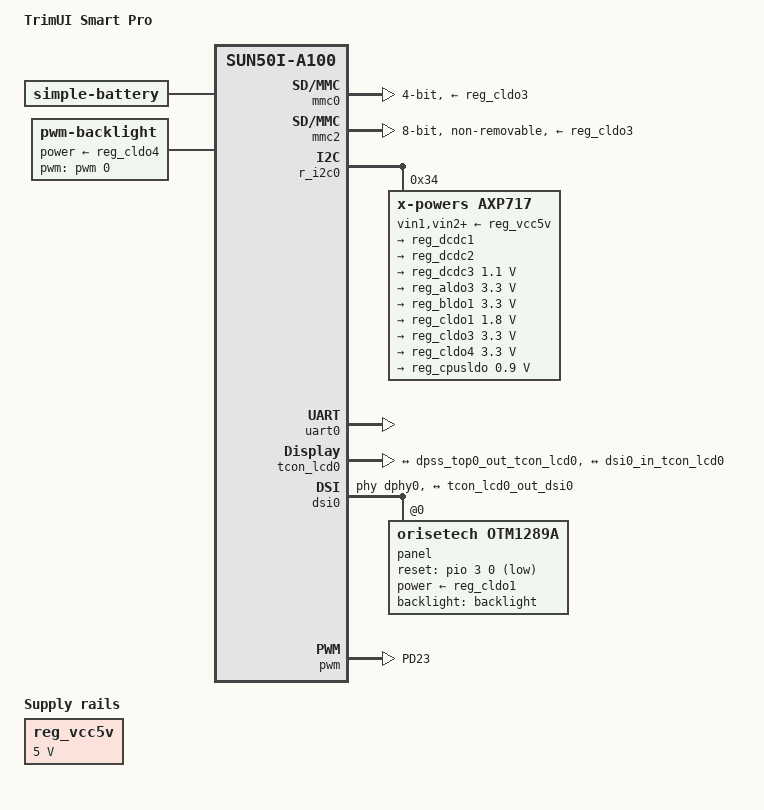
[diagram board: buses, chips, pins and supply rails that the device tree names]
// SPDX-License-Identifier: (GPL-2.0+ OR MIT)
/*
 * Copyright (c) 2026 (out-of-tree hobbyist port, not yet upstream)
 *
 * Board: TrimUI Smart Pro (Allwinner A133 Plus / sun50iw10p1)
 *
 * Sourced from:
 *  - vendor DTB extracted from Knulli image (dtb_86065152.dts, offset
 *    86065152 in knulli-a133-trimui-smart-pro-scarab-20260511.img)
 *  - sun50i-a133-liontron-h-a133l.dts (mainline reference board, same SoC)
 *  - sun50i-h700-anbernic-rg35xx-2024.dts (mainline handheld reference for
 *    AXP717 regulator/battery wiring style)
 *  - LIVE data pulled directly off the running unit over UART (root shell +
 *    /sys/firmware/fdt, the kernel's own resolved device tree — not a guess):
 *    real regulator voltages (confirmed via U-Boot's PMIC init console log),
 *    real DRAM timing table (see trimui-smartpro_defconfig), real panel
 *    timings (see the lcd0 comment block below).
 *
 * TODO markers below are places nothing above could resolve: buttons/
 * joystick are NOT GPIO at all (confirmed: read over a UART-attached
 * co-microcontroller, see BUTTON_PROBING_PLAN.md — needs a from-scratch
 * serdev driver, not a DT gpio-keys node), and the panel's DSI init
 * command sequence (register writes for the otm1289a controller) is
 * not yet captured.
 */

/dts-v1/;

#include "sun50i-a100.dtsi"
#include "sun50i-a100-cpu-opp.dtsi"

#include <dt-bindings/clock/sun8i-tcon-top.h>
#include <dt-bindings/gpio/gpio.h>
#include <dt-bindings/input/linux-event-codes.h>
#include <dt-bindings/leds/common.h>

/ {
	model = "TrimUI Smart Pro";
	chassis-type = "handset";
	/* "trimui" is not a registered vendor prefix in dt-bindings yet;
	 * fine for an out-of-tree hobbyist build, would need registering
	 * (vendor-prefixes.yaml) before any upstream submission. */
	compatible = "trimui,smart-pro", "allwinner,sun50i-a100";

	aliases {
		serial0 = &uart0;
	};

	chosen {
		/* confirmed from the vendor boot.img kernel cmdline */
		stdout-path = "serial0:115200n8";
	};

	battery: battery {
		compatible = "simple-battery";
		/* vendor DTB: pmu_battery_rdc = 0x93, pmu_battery_cap = 0x1388 (5000mAh) */
		voltage-max-design-microvolt = <4200000>;
	};

	reg_vcc5v: regulator-vcc5v {
		compatible = "regulator-fixed";
		regulator-name = "vcc-5v";
		regulator-min-microvolt = <5000000>;
		regulator-max-microvolt = <5000000>;
		regulator-always-on;
	};

	de: display-engine {
		/*
		 * The fallback compatible string matters: sun4i_drv.c's
		 * of_match_table has no A133 entry, and matches here are what
		 * probes the aggregate "sun4i-drm" platform driver that calls
		 * component_bind_all() to wire the already-individually-probed
		 * mixer/tcon/dsi devices together into one DRM device. Without
		 * a match, this node binds no driver at all and the pipeline
		 * sits in permanent -EPROBE_DEFER. sun4i_drv.c's probe function
		 * isn't SoC-specific (it just walks the DT ports graph), so
		 * reusing an existing entry here is safe -- same pattern used
		 * on tcon_lcd0 below.
		 */
		compatible = "allwinner,sun50i-a133-display-engine",
			     "allwinner,sun50i-a64-display-engine";
		allwinner,pipelines = <&mixer0>;
		status = "okay";
	};

	/*
	 * Real values from the vendor live DTB's power_sply block:
	 * lcd_pwm_used=1, lcd_pwm_ch=0 (PWM channel 0 — wired above),
	 * lcd_pwm_freq=0xc350=50000Hz (period_ns = 1e9/50000 = 20000),
	 * lcd_pwm_pol=0 (normal polarity), lcd_pwm_max_limit=0xc8=200.
	 * NOT included: a real backlight-enable GPIO. The vendor DTB has
	 * a separate lcd_bl_en packed property (bank=7/pin=18, decoding to
	 * PH18 by cross-checking the pinctrl driver's own bank-numbering
	 * against an already-confirmed-real pin elsewhere in this file) —
	 * tried driving it directly via a raw register poke on live
	 * hardware (no kernel involved, just to test the hypothesis) and
	 * it had no visible effect, so this pin guess is unconfirmed/likely
	 * wrong (the vendor property has 8 packed fields where a plain
	 * 6-cell gpio-spec would only have 7 — there's a piece of that
	 * encoding not accounted for). Left out entirely rather than wire
	 * up a pin that's an unverified guess.
	 */
	backlight: backlight {
		compatible = "pwm-backlight";
		pwms = <&pwm 0 20000 0>;
		default-brightness-level = <200>;
		power-supply = <&reg_cldo4>;
	};

	/* TODO: face buttons (A/B/X/Y, D-pad, L1/L2/R1/R2, start/select,
	 * joystick clicks). The vendor DTB has NO gpio-keys node and no
	 * "trimui_keypad"-style driver string was found in the firmware —
	 * only a 3-key ADC "allwinner,keyboard_1350mv" node exists (that's
	 * volume/fastboot-combo, not the face buttons). Real GPIO/ADC
	 * assignments need to come from live probing on the actual unit
	 * (pinctrl debugfs, evtest against the stock kernel, or a UART
	 * dmesg capture during boot) — not guessed from another device.
	 */
};

&cpu0 {
	/* TODO: verify against A133 PLUS-rated OPP ceiling, not just A100's */
	cpu-supply = <&reg_dcdc1>;
};

&mmc0 {
	/* SD card slot. cd-gpios still unconfirmed — no hotplug detection, but
	 * that's fine for a card already inserted at boot (proven live: this is
	 * literally how SPL/BROM read this same card to boot in the first
	 * place). Pin/clock wiring already provided by sun50i-a100.dtsi.
	 * vmmc-supply guessed as the same general IO rail as mmc2 — unconfirmed,
	 * first thing to revisit if this doesn't come up cleanly. */
	bus-width = <4>;
	vmmc-supply = <&reg_cldo3>;
	status = "okay";
};

&mmc2 {
	/* eMMC — pin group/clocks/etc. already wired by sun50i-a100.dtsi, this
	 * board file only needs the board-specific bits. bus mode confirmed
	 * from the live boot log: negotiated DDR52, NOT HS200/HS400 — the
	 * vendor kernel actively strips those capability flags at runtime
	 * ("delete mmc-hs200-1_8v from dtb" / "delete mmc-hs400-1_8v from dtb"
	 * in dmesg), so we don't claim them here either. vmmc-supply is a
	 * reasonable inference (cldo3/vcc-io, the general 3.3V IO rail) but
	 * NOT directly confirmed — no capture explicitly tied cldo3 to mmc2.
	 */
	bus-width = <8>;
	non-removable;
	cap-mmc-hw-reset;
	mmc-ddr-1_8v;
	vmmc-supply = <&reg_cldo3>; /* inferred, not directly confirmed */
	status = "okay";
};

&r_i2c0 {
	status = "okay";

	axp717: pmic@34 {
		compatible = "x-powers,axp717";
		reg = <0x34>;
		interrupt-controller;
		#interrupt-cells = <1>;
		interrupt-parent = <&r_intc>;
		interrupts = <0 IRQ_TYPE_LEVEL_LOW>;

		vin1-supply = <&reg_vcc5v>;
		vin2-supply = <&reg_vcc5v>;
		vin3-supply = <&reg_vcc5v>;
		vin4-supply = <&reg_vcc5v>;

		axp_adc: adc {
			compatible = "x-powers,axp717-adc";
			#io-channel-cells = <1>;
		};

		battery_power: battery-power {
			compatible = "x-powers,axp717-battery-power-supply";
			monitored-battery = <&battery>;
			x-powers,no-thermistor;
		};

		usb_power: usb-power {
			compatible = "x-powers,axp717-usb-power-supply";
		};

		/*
		 * Regulator names carried over from the vendor DTB's "axp2202-*"
		 * node names (AXP2202 == AXP717, confirmed: Allwinner's BSP driver
		 * for "axp2202" has been shown driving a chip physically marked
		 * AXP717). Voltages below are REAL, read directly from U-Boot's own
		 * PMIC-init console log on the live unit (not decoded/guessed) —
		 * each line printed "<rail>_vol = <mV>, onoff=<0|1>" at boot. dcdc2
		 * (GPU/sys) wasn't printed at that boot stage (probably brought up
		 * later by the kernel) — left undocumented rather than guessed.
		 * dcdc1 (vdd-cpu) was 940mV at that instant but is DVFS-scaled by
		 * cpufreq, so it's intentionally NOT hardcoded to a fixed value here.
		 */
		regulators {
			reg_dcdc1: dcdc1 {
				/*
				 * regulator-always-on, not regulator-boot-on:
				 * drivers/regulator/core.c's regulator_late_cleanup()
				 * (the late-boot "disable unused regulators" sweep)
				 * checks constraints->always_on, not ->boot_on --
				 * boot-on only means "was already on at boot," it
				 * does nothing to stop this cleanup pass from
				 * turning it back off. This board has no cpufreq/OPP
				 * consumer wired up yet, so dcdc1 would otherwise
				 * have zero regulator-API reference count despite
				 * being the CPU's own supply -- disabling it hard
				 * hangs the board.
				 */
				regulator-always-on;
				regulator-name = "vdd-cpu";
				/* boot-time value was 940mV; real range needs the OPP table, not hardcoded here */
			};
			reg_dcdc2: dcdc2 {
				/*
				 * Same reasoning as dcdc1 above: no GPU driver
				 * claims this rail yet, and nothing rules out
				 * shared PLL/bias circuitry with the display
				 * path, so it's kept on rather than left to the
				 * late-boot unused-regulator cleanup.
				 */
				regulator-always-on;
				regulator-name = "vdd-gpu-sys";
			};
			reg_dcdc3: dcdc3 {
				/* confirmed real: matches boot0's "DRAM_VCC set to 1100 mv" exactly */
				regulator-always-on;
				regulator-min-microvolt = <1100000>;
				regulator-max-microvolt = <1100000>;
				regulator-name = "vdd-dram";
			};
			/*
			 * aldo1/aldo2/aldo4/bldo2/bldo3/bldo4 all got
			 * regulator-always-on added after real, reproducible
			 * hard hangs: fixing vdd-cpu/vdd-gpu-sys (the first two
			 * rails caught by the kernel's late-boot "disable
			 * unused regulators" sweep) didn't stop the hang, it
			 * just moved it — the very next boot hung identically
			 * but with "aldo4: disabling" this time. Whack-a-mole:
			 * every rail the vendor bootloader left on (onoff=1 in
			 * the real U-Boot PMIC log) that we don't have a
			 * confirmed real consumer/purpose for is exactly this
			 * same landmine, since nothing in our still-incomplete
			 * DT claims them through the regulator API. Rather than
			 * keep discovering these one hang at a time, all of
			 * them get always-on now — matches the vendor's own
			 * actual default behavior anyway (leave them on).
			 * bldo1 is the one confirmed exception: real U-Boot log
			 * shows onoff=0 at boot (WiFi/BT driver switches it on
			 * dynamically later), so it's deliberately left off here.
			 */
			reg_aldo1: aldo1 {
				/* real: 1800mV, onoff=1 at boot */
				regulator-always-on;
			};
			reg_aldo2: aldo2 {
				/* real: 3300mV, onoff=1 */
				regulator-always-on;
			};
			reg_aldo3: aldo3 {
				/* confirmed: WiFi/BT IO rail (wlan_io_regulator), real: 3300mV */
				regulator-always-on;
				regulator-min-microvolt = <3300000>;
				regulator-max-microvolt = <3300000>;
				regulator-name = "vcc-wifi-io";
			};
			reg_aldo4: aldo4 {
				/* real: 1800mV, onoff=1 */
				regulator-always-on;
			};
			reg_bldo1: bldo1 {
				/* confirmed: WiFi/BT power rail (wlan_power1), real: 3300mV.
				 * NOT always-on: U-Boot log shows onoff=0 at boot — the
				 * wifi/bt driver switches it on dynamically at runtime. */
				regulator-min-microvolt = <3300000>;
				regulator-max-microvolt = <3300000>;
				regulator-name = "vcc-wifi";
			};
			reg_bldo2: bldo2 {
				/* real: 1800mV, onoff=1 */
				regulator-always-on;
			};
			reg_bldo3: bldo3 {
				/* real: 3300mV, onoff=1 */
				regulator-always-on;
			};
			reg_bldo4: bldo4 {
				/* real: 1800mV at boot, onoff=1 */
				regulator-always-on;
			};
			reg_cldo1: cldo1 {
				/* confirmed: LCD panel power0 (lcd_power0="cldo1"), real: 1800mV */
				regulator-always-on;
				regulator-min-microvolt = <1800000>;
				regulator-max-microvolt = <1800000>;
				regulator-name = "vcc-lcd-1";
			};
			reg_cldo2: cldo2 { };
			reg_cldo3: cldo3 {
				/* real: 3300mV */
				regulator-always-on;
				regulator-min-microvolt = <3300000>;
				regulator-max-microvolt = <3300000>;
				regulator-name = "vcc-io";
			};
			reg_cldo4: cldo4 {
				/* confirmed: LCD panel power1 (lcd_power1="cldo4"), real: 3300mV */
				regulator-always-on;
				regulator-min-microvolt = <3300000>;
				regulator-max-microvolt = <3300000>;
				regulator-name = "vcc-lcd-2";
			};
			reg_cpusldo: cpusldo {
				/* real: 900mV, onoff=1 */
				regulator-always-on;
				regulator-boot-on;
				regulator-min-microvolt = <900000>;
				regulator-max-microvolt = <900000>;
			};
		};
	};
};

&uart0 {
	pinctrl-names = "default";
	pinctrl-0 = <&uart0_pb_pins>; /* only pin group this SoC's dtsi defines; matches vendor cmdline's ttyS0 */
	status = "okay";
};

&{/soc} {
	/*
	 * A133 (sun50iw10) has no public DE/mixer register documentation
	 * (A133 User Manual rev 1.1, chapter 4.1 "DE" is 2 pages of feature
	 * bullets + a block diagram, no register list — unlike every other
	 * chapter in that manual). Addresses/topology below are cross-
	 * checked two ways instead: the manual's own top-level physical
	 * memory map (DE0/DSI0/DPSS_TOP0/TCON_LCD0 base addresses + GIC IRQ
	 * numbers, chapter 3) and Allwinner's own GPL disp2 driver source
	 * for this exact SoC (lowlevel_v2x/sun50iw10 tree — public on
	 * GitHub from several vendor BSP forks, e.g. chainsx/kernel-sun50iw10,
	 * engSinteck/A133_Image): de_feat.c gives the real channel/layer
	 * topology (DISP0 = 2 VI + 2 UI channels, DISP1 = 1 VI + 2 UI, all
	 * scaler-capable) that drives the sun8i_mixer.c cfg structs, and
	 * de_rtmx_init()'s reg_base + 0x100000 / + 0x200000 offsets for
	 * mixer0/mixer1 match the addresses used below (and match the
	 * existing convention already used for every other DE2.0 SoC in
	 * this driver — A64, H3, R40).
	 *
	 * DPSS_TOP0 (0x06510000) is a real hardware crossbar between the
	 * mixers and TCON_LCD0 -- CCU exposes its own bus clock/reset gate
	 * (CLK_BUS_DPSS_TOP0/RST_BUS_DPSS_TOP0), and the vendor implementation
	 * explicitly routes through it. Leaving it out of the ports graph
	 * entirely is not survivable: mixer0/tcon_lcd0/dsi0 all probe and
	 * bind fine without it, but every DRM atomic commit then times out
	 * waiting for vblank -- the pixel path never physically reaches the
	 * panel, because nothing keeps DPSS_TOP0's own bus clock enabled
	 * once Linux's "disable unused clocks" cleanup runs. Modeled here by
	 * reusing mainline's existing sun8i_tcon_top.c driver with an added
	 * A133 compatible + quirks entry: the vendor's own register layout
	 * for this block is bit-for-bit identical to what that driver
	 * already assumes for R40/D1/H6 -- genuinely the same IP block, just
	 * undocumented for this particular SoC.
	 */
	dpss_top0: dpss-top@6510000 {
		compatible = "allwinner,sun50i-a133-tcon-top";
		reg = <0x06510000 0x1000>;
		/*
		 * "tcon-tv0" is a required clock-name in sun8i_tcon_top_bind()
		 * regardless of quirks (it unconditionally registers a TV0
		 * gate clock) even though this board has no TCON_TV/HDMI
		 * output at all. Pointing it at CLK_TCON_LCD is a harmless
		 * filler — that gate output is never consumed by anything in
		 * this DT, it just needs to exist so probe doesn't fail
		 * resolving the clock-name. "dsi" is real and load-bearing
		 * though (has_dsi=true pulls it in): CLK_MIPI_DSI from CCU is
		 * the actual upstream parent feeding DSI's gated clock inside
		 * this block. Missed this the first time around — dpss_top0's
		 * own probe failed outright without it (of_property_match_string
		 * couldn't find "dsi" in clock-names), which cascaded into
		 * dsi0's own "mod" clock lookup failing too, since it points
		 * at dpss_top0's now-never-registered clock provider.
		 */
		clocks = <&ccu CLK_BUS_DPSS_TOP0>,
			 <&ccu CLK_TCON_LCD>,
			 <&ccu CLK_MIPI_DSI>;
		clock-names = "bus", "tcon-tv0", "dsi";
		clock-output-names = "tcon-top-tv0", "tcon-top-dsi";
		resets = <&ccu RST_BUS_DPSS_TOP0>;
		#clock-cells = <1>;

		ports {
			#address-cells = <1>;
			#size-cells = <0>;

			dpss_top0_mixer0_in: port@0 {
				reg = <0>;

				dpss_top0_in_mixer0: endpoint {
					remote-endpoint = <&mixer0_out_dpss_top0>;
				};
			};

			dpss_top0_mixer0_out: port@1 {
				reg = <1>;

				dpss_top0_out_tcon_lcd0: endpoint {
					remote-endpoint = <&tcon_lcd0_in_dpss_top0>;
				};
			};
		};
	};

	mixer0: mixer@6100000 {
		compatible = "allwinner,sun50i-a133-de2-mixer-0";
		reg = <0x06100000 0x100000>;
		clocks = <&ccu CLK_BUS_DE>, <&ccu CLK_DE>;
		clock-names = "bus", "mod";
		resets = <&ccu RST_BUS_DE>;

		ports {
			#address-cells = <1>;
			#size-cells = <0>;

			mixer0_out: port@1 {
				reg = <1>;

				mixer0_out_dpss_top0: endpoint {
					remote-endpoint = <&dpss_top0_in_mixer0>;
				};
			};
		};
	};

	tcon_lcd0: lcd-controller@6511000 {
		/*
		 * No A100/A133-specific compatible exists upstream (the
		 * binding's compatible enum only lists SoCs someone has
		 * already wired up). The generic a83t-tcon-lcd fallback
		 * matches the driver purely on this string, so it still
		 * binds correctly even without an A133-specific entry.
		 */
		compatible = "allwinner,sun8i-a83t-tcon-lcd";
		reg = <0x06511000 0x1000>;
		/*
		 * Was GIC_SPI 101 (copied from a mismatched reference DTS) --
		 * the interrupt handler was silently never firing. Confirmed
		 * correct via the live vendor DT + /proc/interrupts: vendor's
		 * combined disp@06000000 node's third interrupt cell is raw
		 * SPI 0x44 = 68, and that is the ONLY display-related
		 * interrupt actively counting (~60Hz) on real hardware --
		 * cross-checked against dma0's SPI 0x2d=45, which matches
		 * exactly between the vendor DT and its own /proc/interrupts
		 * with no offset, confirming the raw-cell-value convention.
		 */
		interrupts = <GIC_SPI 68 IRQ_TYPE_LEVEL_HIGH>;
		clocks = <&ccu CLK_BUS_TCON_LCD>, <&ccu CLK_TCON_LCD>;
		clock-names = "ahb", "tcon-ch0";
		clock-output-names = "tcon-pixel-clock";
		resets = <&ccu RST_BUS_TCON_LCD>;
		reset-names = "lcd";
		#clock-cells = <0>;

		ports {
			#address-cells = <1>;
			#size-cells = <0>;

			tcon_lcd0_in: port@0 {
				reg = <0>;

				tcon_lcd0_in_dpss_top0: endpoint {
					remote-endpoint = <&dpss_top0_out_tcon_lcd0>;
				};
			};

			tcon_lcd0_out: port@1 {
				reg = <1>;
				#address-cells = <1>;
				#size-cells = <0>;

				/*
				 * reg = <1> here (not 0) is load-bearing, not
				 * cosmetic: sun4i_drv.c's component-matching
				 * walk (sun4i_drv_traverse_endpoints()) treats
				 * a channel-0 TCON's port@1 endpoint 0 as "our
				 * directly-connected panel" and deliberately
				 * skips adding it to the component match list.
				 * Confirmed live on real hardware: with this
				 * endpoint unaddressed (defaulting to reg=0),
				 * the DSI encoder got silently treated as a
				 * bare panel and never added to the component
				 * list, so component_bind_all() never bound
				 * it, dsi->drm never got set, and the panel's
				 * mipi_dsi_attach() spun in EPROBE_DEFER
				 * forever — screen stayed black even though
				 * mixer0 probed fine standalone. Matches the
				 * real D1 reference DTS's own convention:
				 * sunxi-d1s-t113.dtsi's tcon_lcd0_out_dsi is
				 * also "endpoint@1 { reg = <1>; ... }", same
				 * as here, not endpoint 0 — this was a real
				 * detail I should have carried over the first
				 * time instead of dropping it.
				 */
				tcon_lcd0_out_dsi0: endpoint@1 {
					reg = <1>;
					remote-endpoint = <&dsi0_in_tcon_lcd0>;
				};
			};
		};
	};

	dsi0: dsi@6504000 {
		compatible = "allwinner,sun50i-a100-mipi-dsi";
		reg = <0x06504000 0x1000>;
		interrupts = <GIC_SPI 100 IRQ_TYPE_LEVEL_HIGH>;
		/*
		 * REVERTED: tried sourcing "mod" from dpss_top0's gated DSI
		 * output (matching the vendor's de_lcd.c, which gates
		 * tcon_clk_gate.bits.dsi_clk_gate as part of enabling DSI, and
		 * the real D1 reference DTS's identical convention) — but this
		 * creates a genuine circular dependency, not just an ordering
		 * race: dpss_top0 only registers its clock-provider inside its
		 * component .bind() callback, which only runs once every
		 * matched component (including dsi0 itself) has *already*
		 * succeeded its own individual .probe(). dsi0's probe() can't
		 * succeed without this clock, so it can never reach
		 * component_add(), so dpss_top0's bind() never fires, forever
		 * — confirmed live: "Couldn't get the DSI mod clock" repeated
		 * on every deferred-probe retry with no path to resolution.
		 * Back to sourcing directly from CCU, which is what actually
		 * got the panel to attach successfully a few iterations ago.
		 * dpss_top0 stays modeled in the ports graph regardless (for
		 * its own bus-clock-keepalive purpose, now fully decoupled
		 * from dsi0's clock lookup) — whether A133 genuinely needs
		 * this specific gate toggled for DSI to output correctly, as
		 * opposed to just needing DPSS_TOP0 clocked/reset for its
		 * routing mux to be live, is still an open question; CCU's
		 * own CLK_MIPI_DSI already has its own independent gate bit,
		 * so it's plausible this DPSS_TOP0 gate is a separate/optional
		 * clock domain rather than something on the primary pixel path.
		 */
		clocks = <&ccu CLK_BUS_MIPI_DSI>, <&ccu CLK_MIPI_DSI>;
		clock-names = "bus", "mod";
		resets = <&ccu RST_BUS_MIPI_DSI>;
		phys = <&dphy0>;
		phy-names = "dphy";
		status = "okay";
		#address-cells = <1>;
		#size-cells = <0>;

		port {
			dsi0_in_tcon_lcd0: endpoint {
				remote-endpoint = <&tcon_lcd0_out_dsi0>;
			};
		};

		panel@0 {
			/*
			 * reset-gpios pin is a placeholder (PD0) — the real
			 * reset line hasn't been probed on hardware yet.
			 * power-supply maps to the driver's
			 * devm_regulator_get(dev, "power") lookup. backlight
			 * maps to drm_panel_of_backlight()'s lookup, wired to
			 * the pwm-backlight node above (real PWM channel 0 /
			 * 50kHz values, but backlight-enable GPIO not included
			 * — see the comment on that node for why).
			 *
			 * No ports/endpoint graph needed here: sun6i_dsi_attach()
			 * (drivers/gpu/drm/sun4i/sun6i_mipi_dsi.c) finds the
			 * panel via of_drm_find_panel() on this node directly,
			 * not through of_graph — the DSI parent/child
			 * relationship (reg = virtual channel) is the only
			 * link needed.
			 */
			compatible = "orisetech,otm1289a";
			reg = <0>;
			reset-gpios = <&pio 3 0 GPIO_ACTIVE_LOW>; /* TODO: unconfirmed pin, revisit on real hw */
			power-supply = <&reg_cldo1>;
			backlight = <&backlight>;
		};
	};

	dphy0: phy@6505000 {
		compatible = "allwinner,sun50i-a100-mipi-dphy";
		reg = <0x06505000 0x1000>;
		interrupts = <GIC_SPI 100 IRQ_TYPE_LEVEL_HIGH>;
		clocks = <&ccu CLK_BUS_MIPI_DSI>, <&ccu CLK_MIPI_DSI>;
		clock-names = "bus", "mod";
		resets = <&ccu RST_BUS_MIPI_DSI>;
		#phy-cells = <0>;
	};

	/*
	 * No mainline driver or A100/A133-specific binding exists upstream
	 * for this IP (see drivers/pwm/pwm-sun50i-a133.c and its binding
	 * doc) -- it's a newer, richer generation than allwinner,sun4i-a10-pwm.
	 * Base address and register layout are from the A133 User Manual,
	 * chapter 10.11 (fully documented down to bit level). Only
	 * CLK_BUS_PWM (register-access gate) is needed -- the PWM output
	 * clock source itself is internal to this IP, confirmed by
	 * CLK_PWM's absence from the A100 CCU headers.
	 */
	pwm: pwm@300a000 {
		compatible = "allwinner,sun50i-a133-pwm";
		reg = <0x0300a000 0x400>;
		clocks = <&ccu CLK_BUS_PWM>;
		clock-names = "bus";
		resets = <&ccu RST_BUS_PWM>;
		pinctrl-names = "default";
		pinctrl-0 = <&pwm0_pins>;
		#pwm-cells = <3>;
	};
};

&pio {
	/*
	 * PD23/pwm0, muxsel 0x2 — confirmed real from the vendor live DTB's
	 * lcd_pwm_ch = 0 (PWM channel 0 drives the panel backlight) cross-
	 * checked against drivers/pinctrl/sunxi/pinctrl-sun50i-a100.c's own
	 * SUNXI_PIN(D, 23) table, which already lists "pwm0" at the exact
	 * same function value (0x2) the vendor DTB used — mainline's
	 * pinctrl driver already fully supports this pin/function, only
	 * the PWM controller driving it needed writing.
	 */
	pwm0_pins: pwm0-pins {
		pins = "PD23";
		function = "pwm0";
	};
};

/*
 * TODO: WiFi/BT (XR829 on SDIO bus 1 / &mmc1, confirmed from strings:
 * boot_xr829.bin, fw_xr829.bin, fw_xr829_bt.bin, sdd_xr829.bin — and
 * confirmed live via the running kernel's "XRADIO WIFI OPEN" driver log,
 * MAC dc:44:60:xx:xx:xx (redacted)). Power rails: bldo1 (3300mV, switched on
 * dynamically, not always-on) + aldo3 (3300mV, always-on) — both wired
 * above. GPIO wiring is REAL, read directly off the live unit's
 * /sys/kernel/debug/gpio (not decoded from packed vendor fields):
 *   bt_rst         = r_pio 0 2  (PL2)  output, active low
 *   bt_hostwake    = r_pio 0 3  (PL3)  input
 *   bt_wake        = r_pio 0 4  (PL4)  output
 *   wlan_regon     = r_pio 0 5  (PL5)  output
 *   wlan_hostwake  = r_pio 0 6  (PL6)  input
 * Mainline equivalent is an mmc1 node + mmc-pwrseq-simple (using
 * wlan_regon as the reset-gpios line) + whatever XR829 driver ends up
 * used (no mainline driver exists yet — see project notes for the
 * out-of-tree candidates). Not wired into an actual mmc1 node yet.
 */

/*
 * Display: mixer0/tcon_lcd0/dsi0/dphy0/panel@0 are all wired above
 * (&soc block + dsi0's panel@0 child). Status:
 *  - Panel driver (panel-orisetech-otm1289a.c) written: real timings
 *    (720x1280, 69MHz dclk, ht=880/hbp=88/hspw=4, vt=1320/vbp=9/vspw=4)
 *    plus a DSI init command sequence transcribed from a MediaTek LCM
 *    driver for the same panel controller IC found via GitHub code
 *    search (OrangePi4G-iot_kernel's otm1289a_hd720_dsi_vdo_auo.c) —
 *    NOT from Allwinner's own disp2 tree, which was checked for this
 *    board's exact panel and doesn't have it (its bundled lcd/ panel
 *    library has ~90 entries but none named otm1289a; ours is probably
 *    a TrimUI-added file in a downstream fork that isn't public). The
 *    reference driver uses 3 DSI lanes; ours is set to the confirmed
 *    real 4-lane value, so timing-sensitive parts of the init sequence
 *    may need retuning once there's real hardware feedback.
 *  - Mixer (sun8i_mixer.c): A133 cfg added, ported from the same vendor
 *    tree's de_feat.c topology data (see &soc comment above the mixer0
 *    node for the full provenance/reasoning).
 *  - TCON_LCD0/DSI0/D-PHY: real register addresses from the A133 User
 *    Manual (chapter 6, which — unlike the DE chapter — is fully
 *    documented down to bit level); DSI host + D-PHY already had
 *    mainline driver support for A100 before this port touched anything.
 * Backlight: working. The `backlight` pwm-backlight node above (PWM
 * channel 0, 50kHz) is wired via `backlight = <&backlight>` on the panel
 * node and confirmed on real hardware.
 *
 * The remaining open item is display output itself: the panel attaches
 * and the backlight lights, but TCON0's CPU/8080-interface TRIGGER_START
 * bit never self-clears, so no pixel data reaches the panel -- see the
 * project's investigation log for the current status. reset-gpios is
 * still an unverified placeholder, and the DPSS_TOP0 routing-register
 * risk noted above the mixer0 node is still unconfirmed.
 */

/*
 * TODO: GPU (img,gpu / PowerVR GE8300) — no mainline binding to reference
 * yet.
 */
